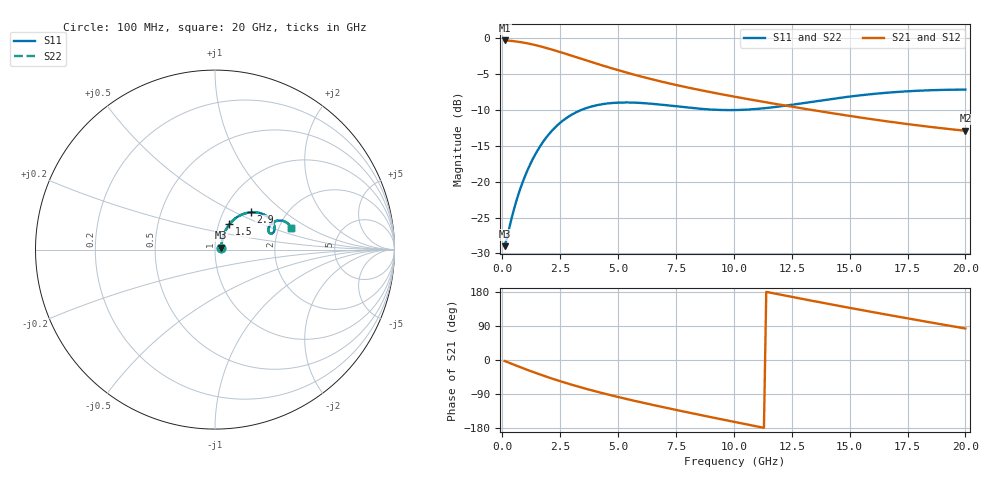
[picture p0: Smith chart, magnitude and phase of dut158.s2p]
! Touchstone file exported from HFSS 2024.1.0
!  File:  C:/UserFiles/LocalFiles/RDL_TSV_Batchsim/temp_RDL_TSV_158_1779433620.aedt
!  Generated:  03:24:08 PM May 22, 2026
!  Design:  RDL_TSV
!  Project:  temp_RDL_TSV_158_1779433620
!  Setup:  Setup1
!  Solution:  Sweep
! Variables:
!  dtsv = 12.94um
!  hbump = 3um
!  htsv = 58.62um
!  ldown = 567.26um
!  lrdl = 647.89um
!  p = 40
!  p1 = 57.15um
!  rhole = 10um
!  subl = 4293.34um
!  t = 450um
!  tdown = 2.25um
!  trdl = 4.43um
!  viad = 10um
!  wdown = 11.87um
!  wrdl = 16.71um
!  xbump = 18um
# GHz S MA R 50.000000
! Terminal data exported
! Port[1] = TM1_1_T1
! Port[2] = TM1_4_T1
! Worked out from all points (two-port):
!   200 points, 100 MHz to 20 GHz, reference 50 ohm
!   highest |S21| = -0.30 dB at 100 MHz (marker M1); lowest = -12.9 dB at 20 GHz (marker M2)
!   |S21| within 3 dB of the highest: start of sweep to 3.844 GHz
!   lowest |S11| = -29.0 dB at 100 MHz (marker M3), VSWR 1.07, Z = 53.5 + j1.12 ohm
!   |S11| at or under -10 dB: start of sweep to 3.407 GHz; 9.516 GHz to 10.14 GHz (620.3 MHz wide, 6.31 % of centre)
!   |S22| runs from -29.0 to -7.1 dB; largest |S21 - S12| = 1.8e-14
!   S11 on the Smith chart (normalised r, x): 100 MHz: 1.07, +0.02; 1.5 GHz: 1.12, +0.33; 2.9 GHz: 1.34, +0.61; 20 GHz: 2.31, +0.70
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0.1  0.03554 17.1  0.9658 -2.5  0.9658 -2.5  0.03555 17.1
! Gamma 0 0 0 0
! Port Impedance 50 0 50 0
0.5  0.06389 51.1  0.9547 -12.3  0.9547 -12.3  0.0639 51.1
0.8  0.09151 58.6  0.94 -19.5  0.94 -19.5  0.09151 58.6
1.1  0.1215 61.1  0.921 -26.4  0.921 -26.4  0.1214 61.0
1.5  0.1629 60.4  0.8906 -35.4  0.8906 -35.4  0.1628 60.3
1.8  0.1936 58.3  0.8651 -41.8  0.8651 -41.8  0.1934 58.2
2.2  0.2318 54.4  0.8292 -50.0  0.8292 -50.0  0.2316 54.3
2.9  0.2871 46.4  0.7651 -63.4  0.7651 -63.4  0.2867 46.3
3.5  0.3206 39.6  0.7123 -74.0  0.7123 -74.0  0.32 39.5
4.2  0.3445 32.6  0.6559 -85.5  0.6559 -85.5  0.3438 32.5
5  0.3559 26.1  0.5996 -97.6  0.5996 -97.6  0.355 26.0
5.9  0.3548 20.7  0.5463 -110.4  0.5463 -110.4  0.3537 20.6
6.8  0.3453 17.3  0.5021 -122.5  0.5021 -122.5  0.344 17.2
7.6  0.3343 16.0  0.4689 -133.0  0.4689 -133.0  0.3329 15.9
8.4  0.3242 16.1  0.4402 -143.2  0.4402 -143.2  0.3227 16.1
10.1  0.3161 19.5  0.3897 -164.4  0.3897 -164.4  0.3148 19.6
11.6  0.3291 23.2  0.3532 177.4  0.3532 177.4  0.3281 23.3
13.4  0.3613 25.1  0.3158 156.0  0.3158 156.0  0.3608 25.3
15  0.3924 24.3  0.2877 137.6  0.2877 137.6  0.3923 24.5
16.7  0.4185 21.9  0.2625 118.6  0.2625 118.6  0.4189 22.0
18.3  0.4333 19.1  0.2431 101.3  0.2431 101.3  0.434 19.1
20  0.4389 16.2  0.2266 83.1  0.2266 83.1  0.4399 16.2
